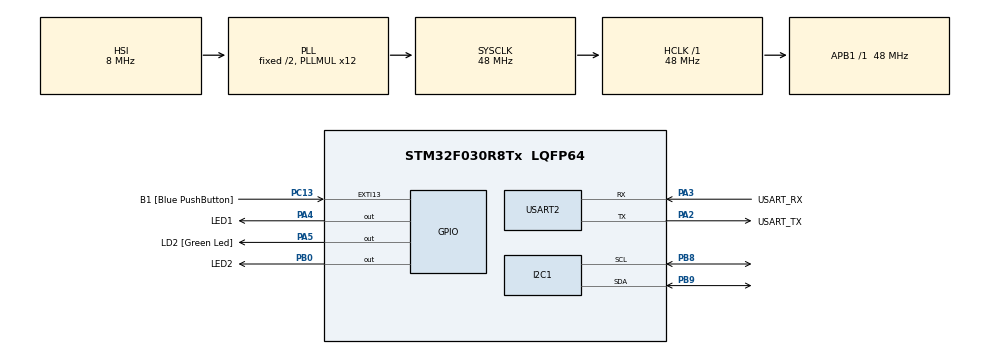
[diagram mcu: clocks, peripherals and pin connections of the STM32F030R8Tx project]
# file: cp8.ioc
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FREERTOS.Queues01=xVisualQueue,16,int16_t,0,Dynamic,NULL,NULL
FREERTOS.Tasks01=defaultTask,0,128,StartDefaultTask,Default,NULL,Dynamic,NULL,NULL;visualTask,0,128,xStartVisualTask,Default,NULL,Dynamic,NULL,NULL;acceleroTask,0,128,StartAcceleroTask,Default,NULL,Dynamic,NULL,NULL
FREERTOS.configUSE_NEWLIB_REENTRANT=1
I2C1.Timing=0x00201D2B
Mcu.Family=STM32F0
Mcu.Name=STM32F030R8Tx
Mcu.Package=LQFP64
NVIC.TIM14_IRQn=true\:3\:0\:false\:false\:true\:false\:false\:true\:true
NVIC.TimeBase=TIM14_IRQn
NVIC.TimeBaseIP=TIM14
PA13.GPIO_Label=TMS
PA13.Mode=Serial_Wire
PA13.Signal=SYS_SWDIO
PA14.GPIO_Label=TCK
PA14.Mode=Serial_Wire
PA14.Signal=SYS_SWCLK
PA2.GPIO_Label=USART_TX
PA2.GPIO_Mode=GPIO_MODE_AF_PP
PA2.GPIO_PuPd=GPIO_NOPULL
PA2.GPIO_Speed=GPIO_SPEED_FREQ_LOW
PA2.Mode=Asynchronous
PA2.Signal=USART2_TX
PA3.GPIO_Label=USART_RX
PA3.GPIO_Mode=GPIO_MODE_AF_PP
PA3.GPIO_PuPd=GPIO_NOPULL
PA3.GPIO_Speed=GPIO_SPEED_FREQ_LOW
PA3.Mode=Asynchronous
PA3.Signal=USART2_RX
PA4.GPIO_Label=LED1
PA4.Signal=GPIO_Output
PA5.GPIO_Label=LD2 [Green Led]
PA5.GPIO_Mode=GPIO_MODE_OUTPUT_PP
PA5.GPIO_PuPd=GPIO_NOPULL
PA5.GPIO_Speed=GPIO_SPEED_FREQ_LOW
PA5.Signal=GPIO_Output
PB0.GPIO_Label=LED2
PB0.Signal=GPIO_Output
PB8.Mode=I2C
PB8.Signal=I2C1_SCL
PB9.Mode=I2C
PB9.Signal=I2C1_SDA
PC13.GPIO_Label=B1 [Blue PushButton]
PC13.GPIO_ModeDefaultEXTI=GPIO_MODE_IT_FALLING
PC13.Signal=GPXTI13
PC14-OSC32_IN.Mode=LSE-External-Oscillator
PC14-OSC32_IN.Signal=RCC_OSC32_IN
PC15-OSC32_OUT.Mode=LSE-External-Oscillator
PC15-OSC32_OUT.Signal=RCC_OSC32_OUT
PF0-OSC_IN.Mode=HSE-External-Clock-Source
PF0-OSC_IN.Signal=RCC_OSC_IN
PF1-OSC_OUT.Signal=RCC_OSC_OUT
ProjectManager.HeapSize=0x200
ProjectManager.StackSize=0x400
ProjectManager.TargetToolchain=STM32CubeIDE
RCC.AHBFreq_Value=48000000
RCC.APB1Freq_Value=48000000
RCC.APB1TimFreq_Value=48000000
RCC.HCLKFreq_Value=48000000
RCC.PLLMUL=RCC_PLL_MUL12
RCC.SYSCLKFreq_VALUE=48000000
RCC.SYSCLKSource=RCC_SYSCLKSOURCE_PLLCLK
USART2.VirtualMode-Asynchronous=VM_ASYNC
VP_FREERTOS_VS_CMSIS_V1.Mode=CMSIS_V1
VP_SYS_VS_tim14.Mode=TIM14
board=NUCLEO-F030R8

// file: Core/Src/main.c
/* USER CODE BEGIN Header */
/**
 ******************************************************************************
 * @file           : main.c
 * @brief          : Main program body
 ******************************************************************************
 * @attention
 *
 * Copyright (c) 2024 STMicroelectronics.
 * All rights reserved.
 *
 * This software is licensed under terms that can be found in the LICENSE file
 * in the root directory of this software component.
 * If no LICENSE file comes with this software, it is provided AS-IS.
 *
 ******************************************************************************
 */
/* USER CODE END Header */
#include "main.h"
#include "cmsis_os.h"

/* USER CODE BEGIN Includes */
#include "lis2dw12_reg.h"
#include <stdint.h>

/* USER CODE END Includes */

I2C_HandleTypeDef hi2c1;

UART_HandleTypeDef huart2;

osThreadId defaultTaskHandle;
osThreadId visualTaskHandle;
osThreadId acceleroTaskHandle;
osMessageQId xVisualQueueHandle;

void SystemClock_Config(void);
static void MX_GPIO_Init(void);
static void MX_USART2_UART_Init(void);
static void MX_I2C1_Init(void);
void StartDefaultTask(void const * argument);
void xStartVisualTask(void const * argument);
void StartAcceleroTask(void const * argument);

/* USER CODE BEGIN PFP */
static int32_t platform_write(void *handle, uint8_t reg, uint8_t *bufp, uint16_t len);
static int32_t platform_read(void *handle, uint8_t reg, uint8_t *bufp, uint16_t len);

static stmdev_ctx_t lis2dw12 = {
 .write_reg = platform_write,
 .read_reg = platform_read,
 .handle = &hi2c1,
};

/* USER CODE END PFP */

/* USER CODE BEGIN 0 */
/*
* Replace the functions "platform_write" and "platform_read" with your
* platform specific read and write function.
*/
static int32_t platform_write(void *handle, uint8_t reg, uint8_t *bufp, uint16_t len)
{
 HAL_I2C_Mem_Write(handle, LIS2DW12_I2C_ADD_H, reg, I2C_MEMADD_SIZE_8BIT, bufp, len, 1000);
 return 0;
}
static int32_t platform_read(void *handle, uint8_t reg, uint8_t *bufp, uint16_t len)
{
 HAL_I2C_Mem_Read(handle, LIS2DW12_I2C_ADD_H, reg, I2C_MEMADD_SIZE_8BIT, bufp, len, 1000);
 return 0;
}

int _write(int file, char const *buf, int n)
 {
  /* stdout redirection to UART2 */
  HAL_UART_Transmit(&huart2, (uint8_t*)(buf), n, HAL_MAX_DELAY);
  return n;
 }
/* USER CODE END 0 */

int main(void)
{

  /* MCU Configuration--------------------------------------------------------*/

  /* Reset of all peripherals, Initializes the Flash interface and the Systick. */
  HAL_Init();

  /* Configure the system clock */
  SystemClock_Config();

  /* Initialize all configured peripherals */
  MX_GPIO_Init();
  MX_USART2_UART_Init();
  MX_I2C1_Init();

  /* Create the queue(s) */
  /* definition and creation of xVisualQueue */
  osMessageQDef(xVisualQueue, 16, int16_t);
  xVisualQueueHandle = osMessageCreate(osMessageQ(xVisualQueue), NULL);

  /* Create the thread(s) */
  /* definition and creation of defaultTask */
  osThreadDef(defaultTask, StartDefaultTask, osPriorityNormal, 0, 128);
  defaultTaskHandle = osThreadCreate(osThread(defaultTask), NULL);

  /* definition and creation of visualTask */
  osThreadDef(visualTask, xStartVisualTask, osPriorityNormal, 0, 128);
  visualTaskHandle = osThreadCreate(osThread(visualTask), NULL);

  /* definition and creation of acceleroTask */
  osThreadDef(acceleroTask, StartAcceleroTask, osPriorityNormal, 0, 128);
  acceleroTaskHandle = osThreadCreate(osThread(acceleroTask), NULL);

  /* Start scheduler */
  osKernelStart();

  /* We should never get here as control is now taken by the scheduler */

  /* Infinite loop */
	while (1)
	{

	}
}

void SystemClock_Config(void)
{
  RCC_OscInitTypeDef RCC_OscInitStruct = {0};
  RCC_ClkInitTypeDef RCC_ClkInitStruct = {0};
  RCC_PeriphCLKInitTypeDef PeriphClkInit = {0};

  /** Initializes the RCC Oscillators according to the specified parameters
  * in the RCC_OscInitTypeDef structure.
  */
  RCC_OscInitStruct.OscillatorType = RCC_OSCILLATORTYPE_HSI;
  RCC_OscInitStruct.HSIState = RCC_HSI_ON;
  RCC_OscInitStruct.HSICalibrationValue = RCC_HSICALIBRATION_DEFAULT;
  RCC_OscInitStruct.PLL.PLLState = RCC_PLL_ON;
  RCC_OscInitStruct.PLL.PLLSource = RCC_PLLSOURCE_HSI;
  RCC_OscInitStruct.PLL.PLLMUL = RCC_PLL_MUL12;
  RCC_OscInitStruct.PLL.PREDIV = RCC_PREDIV_DIV1;
  if (HAL_RCC_OscConfig(&RCC_OscInitStruct) != HAL_OK)
  {
    Error_Handler();
  }

  /** Initializes the CPU, AHB and APB buses clocks
  */
  RCC_ClkInitStruct.ClockType = RCC_CLOCKTYPE_HCLK|RCC_CLOCKTYPE_SYSCLK
                              |RCC_CLOCKTYPE_PCLK1;
  RCC_ClkInitStruct.SYSCLKSource = RCC_SYSCLKSOURCE_PLLCLK;
  RCC_ClkInitStruct.AHBCLKDivider = RCC_SYSCLK_DIV1;
  RCC_ClkInitStruct.APB1CLKDivider = RCC_HCLK_DIV1;

  if (HAL_RCC_ClockConfig(&RCC_ClkInitStruct, FLASH_LATENCY_1) != HAL_OK)
  {
    Error_Handler();
  }
  PeriphClkInit.PeriphClockSelection = RCC_PERIPHCLK_I2C1;
  PeriphClkInit.I2c1ClockSelection = RCC_I2C1CLKSOURCE_HSI;
  if (HAL_RCCEx_PeriphCLKConfig(&PeriphClkInit) != HAL_OK)
  {
    Error_Handler();
  }
}

static void MX_I2C1_Init(void)
{

  hi2c1.Instance = I2C1;
  hi2c1.Init.Timing = 0x00201D2B;
  hi2c1.Init.OwnAddress1 = 0;
  hi2c1.Init.AddressingMode = I2C_ADDRESSINGMODE_7BIT;
  hi2c1.Init.DualAddressMode = I2C_DUALADDRESS_DISABLE;
  hi2c1.Init.OwnAddress2 = 0;
  hi2c1.Init.OwnAddress2Masks = I2C_OA2_NOMASK;
  hi2c1.Init.GeneralCallMode = I2C_GENERALCALL_DISABLE;
  hi2c1.Init.NoStretchMode = I2C_NOSTRETCH_DISABLE;
  if (HAL_I2C_Init(&hi2c1) != HAL_OK)
  {
    Error_Handler();
  }

  /** Configure Analogue filter
  */
  if (HAL_I2CEx_ConfigAnalogFilter(&hi2c1, I2C_ANALOGFILTER_ENABLE) != HAL_OK)
  {
    Error_Handler();
  }

  /** Configure Digital filter
  */
  if (HAL_I2CEx_ConfigDigitalFilter(&hi2c1, 0) != HAL_OK)
  {
    Error_Handler();
  }

}

static void MX_USART2_UART_Init(void)
{

  huart2.Instance = USART2;
  huart2.Init.BaudRate = 38400;
  huart2.Init.WordLength = UART_WORDLENGTH_8B;
  huart2.Init.StopBits = UART_STOPBITS_1;
  huart2.Init.Parity = UART_PARITY_NONE;
  huart2.Init.Mode = UART_MODE_TX_RX;
  huart2.Init.HwFlowCtl = UART_HWCONTROL_NONE;
  huart2.Init.OverSampling = UART_OVERSAMPLING_16;
  huart2.Init.OneBitSampling = UART_ONE_BIT_SAMPLE_DISABLE;
  huart2.AdvancedInit.AdvFeatureInit = UART_ADVFEATURE_NO_INIT;
  if (HAL_UART_Init(&huart2) != HAL_OK)
  {
    Error_Handler();
  }

}

static void MX_GPIO_Init(void)
{
  GPIO_InitTypeDef GPIO_InitStruct = {0};

  /* GPIO Ports Clock Enable */
  __HAL_RCC_GPIOC_CLK_ENABLE();
  __HAL_RCC_GPIOF_CLK_ENABLE();
  __HAL_RCC_GPIOA_CLK_ENABLE();
  __HAL_RCC_GPIOB_CLK_ENABLE();

  /*Configure GPIO pin Output Level */
  HAL_GPIO_WritePin(GPIOA, LED1_Pin|LD2_Pin, GPIO_PIN_RESET);

  /*Configure GPIO pin Output Level */
  HAL_GPIO_WritePin(LED2_GPIO_Port, LED2_Pin, GPIO_PIN_RESET);

  /*Configure GPIO pin : B1_Pin */
  GPIO_InitStruct.Pin = B1_Pin;
  GPIO_InitStruct.Mode = GPIO_MODE_IT_FALLING;
  GPIO_InitStruct.Pull = GPIO_NOPULL;
  HAL_GPIO_Init(B1_GPIO_Port, &GPIO_InitStruct);

  /*Configure GPIO pins : LED1_Pin LD2_Pin */
  GPIO_InitStruct.Pin = LED1_Pin|LD2_Pin;
  GPIO_InitStruct.Mode = GPIO_MODE_OUTPUT_PP;
  GPIO_InitStruct.Pull = GPIO_NOPULL;
  GPIO_InitStruct.Speed = GPIO_SPEED_FREQ_LOW;
  HAL_GPIO_Init(GPIOA, &GPIO_InitStruct);

  /*Configure GPIO pin : LED2_Pin */
  GPIO_InitStruct.Pin = LED2_Pin;
  GPIO_InitStruct.Mode = GPIO_MODE_OUTPUT_PP;
  GPIO_InitStruct.Pull = GPIO_NOPULL;
  GPIO_InitStruct.Speed = GPIO_SPEED_FREQ_LOW;
  HAL_GPIO_Init(LED2_GPIO_Port, &GPIO_InitStruct);

}

void StartDefaultTask(void const * argument)
{
  /* USER CODE BEGIN 5 */
	/* Infinite loop */
	for(;;)
	{

		int16_t msg;
		if (xQueueReceive(xVisualQueueHandle, &msg, portMAX_DELAY))

		{

			if (msg > +1000)
			{
				HAL_GPIO_WritePin(LED2_GPIO_Port, LED2_Pin, GPIO_PIN_SET);
				HAL_GPIO_WritePin(LED1_GPIO_Port, LED1_Pin, GPIO_PIN_RESET);
			}
			else if (msg < -1000)
			{
				HAL_GPIO_WritePin(LED1_GPIO_Port, LED1_Pin, GPIO_PIN_SET);
				HAL_GPIO_WritePin(LED2_GPIO_Port, LED2_Pin, GPIO_PIN_RESET);
			}
			else
			{
				HAL_GPIO_WritePin(LED1_GPIO_Port, LED1_Pin, GPIO_PIN_RESET);
				HAL_GPIO_WritePin(LED2_GPIO_Port, LED2_Pin, GPIO_PIN_RESET);
			}

			/*if (msg < -1000) HAL_GPIO_WritePin(LED1_GPIO_Port, LED1_Pin, GPIO_PIN_SET);
			else HAL_GPIO_WritePin(LED1_GPIO_Port, LED1_Pin, GPIO_PIN_RESET);

			if (msg > +1000) HAL_GPIO_WritePin(LED2_GPIO_Port, LED2_Pin, GPIO_PIN_SET);
			else HAL_GPIO_WritePin(LED2_GPIO_Port, LED2_Pin, GPIO_PIN_RESET);

			else HAL_GPIO_WritePin(LED2_GPIO_Port, LED2_Pin, 0);
					HAL_GPIO_WritePin(LED2_GPIO_Port, LED2_Pin, 0); */

		}

		osDelay(1);
	}
  /* USER CODE END 5 */
}

void xStartVisualTask(void const * argument)
{
  /* USER CODE BEGIN xStartVisualTask */
	/* Infinite loop */
	for(;;)
	{

		const int16_t msg[4] = {-5000, 0, 5000, 0};

		for (uint8_t i = 0; i < 4;  i++)
		{
			//xQueueSend(xVisualQueueHandle, &msg[i], 0);
			osDelay(300);
		}

		osDelay(1);

	}
  /* USER CODE END xStartVisualTask */
}

void StartAcceleroTask(void const * argument)
{
  /* USER CODE BEGIN StartAcceleroTask */
	/* Infinite loop */

	// Check device ID
	uint8_t whoamI = 0;
	lis2dw12_device_id_get(&lis2dw12, &whoamI);
	printf("LIS2DW12_ID %s\n", (whoamI == LIS2DW12_ID) ? "OK" : "FAIL");

	lis2dw12_full_scale_set(&lis2dw12, LIS2DW12_2g);
	lis2dw12_power_mode_set(&lis2dw12, LIS2DW12_CONT_LOW_PWR_LOW_NOISE_2);
	lis2dw12_block_data_update_set(&lis2dw12, PROPERTY_ENABLE);
	// enable continuous FIFO
	lis2dw12_fifo_mode_set(&lis2dw12, LIS2DW12_STREAM_MODE);
	// enable part from power-down
	lis2dw12_data_rate_set(&lis2dw12, LIS2DW12_XL_ODR_25Hz);

	for(;;)
	{

		uint8_t samples;
		int16_t raw_acceleration[3];
		lis2dw12_fifo_data_level_get(&lis2dw12, &samples);

		for (uint8_t i = 0; i < samples; i++)
		{
		 // Read acceleration data
		 lis2dw12_acceleration_raw_get(&lis2dw12, raw_acceleration);

		}

		static uint8_t citac = 0;
		if (citac++ >= 20)
		{
			citac = 0;
			printf("X=%d Y=%d Z=%d\n", raw_acceleration[0], raw_acceleration[1], raw_acceleration[2]);

		}
			//citac++;
		//printf("X=%d Y=%d Z=%d\n", raw_acceleration[0], raw_acceleration[1], raw_acceleration[2]);

		xQueueSend(xVisualQueueHandle, &raw_acceleration[0], 0);

		osDelay(50);

	}

  /* USER CODE END StartAcceleroTask */
}

void HAL_TIM_PeriodElapsedCallback(TIM_HandleTypeDef *htim)
{
  if (htim->Instance == TIM14) {
    HAL_IncTick();
  }
}

void Error_Handler(void)
{
	__disable_irq();
	while (1)
	{
	}
}
